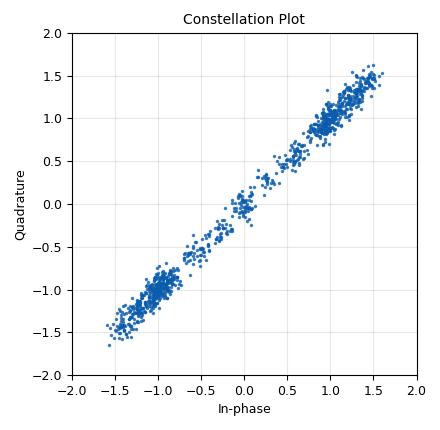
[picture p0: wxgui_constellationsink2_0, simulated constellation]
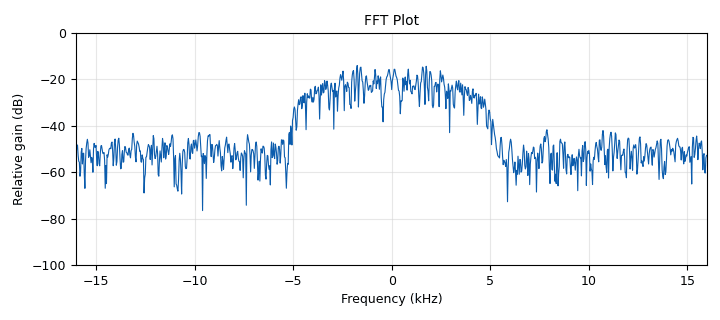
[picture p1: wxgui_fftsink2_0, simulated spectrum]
<?xml version='1.0' encoding='utf-8'?>
<?grc format='1' created='3.7.11'?>
<flow_graph>
<block>
<key>options</key>
<param><key>id</key><value>mpsk_demond</value></param>
<param><key>generate_options</key><value>wx_gui</value></param>
<param><key>title</key><value>MPSK Demod Demo</value></param>
</block>
<block>
<key>variable_slider</key>
<param><key>id</key><value>freq_on</value></param>
<param><key>converver</key><value>float_converter</value></param>
<param><key>value</key><value>0</value></param>
<param><key>label</key><value>freq_on</value></param>
<param><key>max</key><value>0.5</value></param>
<param><key>min</key><value>-0.5</value></param>
<param><key>num_steps</key><value>100</value></param>
<param><key>style</key><value>wx.SL_HORIZONTAL</value></param>
</block>
<block>
<key>variable_slider</key>
<param><key>id</key><value>noise</value></param>
<param><key>converver</key><value>float_converter</value></param>
<param><key>value</key><value>0.1</value></param>
<param><key>label</key><value>Noise</value></param>
<param><key>max</key><value>1</value></param>
<param><key>min</key><value>0</value></param>
<param><key>num_steps</key><value>100</value></param>
<param><key>style</key><value>wx.SL_HORIZONTAL</value></param>
</block>
<block>
<key>variable</key>
<param><key>id</key><value>samp_rate</value></param>
<param><key>value</key><value>32000</value></param>
</block>
<block>
<key>variable</key>
<param><key>id</key><value>samps_per_sym</value></param>
<param><key>value</key><value>4</value></param>
</block>
<block>
<key>analog_random_source_x</key>
<param><key>id</key><value>analog_random_source_x_0</value></param>
<param><key>max</key><value>2**8</value></param>
<param><key>min</key><value>0</value></param>
<param><key>num_samps</key><value>10000</value></param>
<param><key>type</key><value>byte</value></param>
<param><key>repeat</key><value>True</value></param>
</block>
<block>
<key>blocks_throttle</key>
<param><key>id</key><value>blocks_throttle_0</value></param>
<param><key>samples_per_second</key><value>samp_rate</value></param>
<param><key>type</key><value>complex</value></param>
</block>
<block>
<key>channels_channel_model</key>
<param><key>id</key><value>channels_channel_model_0</value></param>
<param><key>epsilon</key><value>1.0</value></param>
<param><key>freq_offset</key><value>freq_on</value></param>
<param><key>noise_voltage</key><value>noise</value></param>
<param><key>seed</key><value>0</value></param>
<param><key>taps</key><value>1.0 + 1.0j</value></param>
</block>
<block>
<key>digital_dxpsk_mod</key>
<param><key>id</key><value>digital_constellation_8psk_sptr</value></param>
<param><key>excess_bw</key><value>0.35</value></param>
<param><key>mod_code</key><value>"gray"</value></param>
<param><key>log</key><value>True</value></param>
<param><key>samples_per_symbol</key><value>4</value></param>
<param><key>type</key><value>dbpsk</value></param>
<param><key>verbose</key><value>False</value></param>
</block>
<block>
<key>notebook</key>
<param><key>id</key><value>nb</value></param>
<param><key>labels</key><value>['Constellation', 'FFT',]</value></param>
<param><key>style</key><value>wx.NB_TOP</value></param>
</block>
<block>
<key>wxgui_constellationsink2</key>
<param><key>id</key><value>wxgui_constellationsink2_0</value></param>
<param><key>const_size</key><value>1024</value></param>
<param><key>frame_rate</key><value>5</value></param>
<param><key>gain_mu</key><value>0.005</value></param>
<param><key>loop_bw</key><value>0.030</value></param>
<param><key>M</key><value>4</value></param>
<param><key>fmax</key><value>0.06</value></param>
<param><key>mu</key><value>0.5</value></param>
<param><key>notebook</key><value>nb, 0</value></param>
<param><key>omega_limit</key><value>0.005</value></param>
<param><key>samp_rate</key><value>samp_rate</value></param>
<param><key>symbol_rate</key><value>samp_rate/4.</value></param>
<param><key>theta</key><value>0</value></param>
<param><key>title</key><value>Constellation Plot</value></param>
</block>
<block>
<key>wxgui_fftsink2</key>
<param><key>id</key><value>wxgui_fftsink2_0</value></param>
<param><key>avg_alpha</key><value>0</value></param>
<param><key>average</key><value>False</value></param>
<param><key>baseband_freq</key><value>0</value></param>
<param><key>fft_size</key><value>1024</value></param>
<param><key>freqvar</key><value>None</value></param>
<param><key>notebook</key><value>nb, 1</value></param>
<param><key>peak_hold</key><value>False</value></param>
<param><key>ref_level</key><value>0</value></param>
<param><key>ref_scale</key><value>2.0</value></param>
<param><key>fft_rate</key><value>15</value></param>
<param><key>samp_rate</key><value>32000</value></param>
<param><key>title</key><value>FFT Plot</value></param>
<param><key>type</key><value>complex</value></param>
<param><key>win</key><value>window.blackmanharris</value></param>
<param><key>y_divs</key><value>10</value></param>
<param><key>y_per_div</key><value>10</value></param>
</block>
<connection><source_block_id>analog_random_source_x_0</source_block_id><sink_block_id>digital_constellation_8psk_sptr</sink_block_id><source_key>0</source_key><sink_key>0</sink_key></connection>
<connection><source_block_id>blocks_throttle_0</source_block_id><sink_block_id>wxgui_constellationsink2_0</sink_block_id><source_key>0</source_key><sink_key>0</sink_key></connection>
<connection><source_block_id>blocks_throttle_0</source_block_id><sink_block_id>wxgui_fftsink2_0</sink_block_id><source_key>0</source_key><sink_key>0</sink_key></connection>
<connection><source_block_id>channels_channel_model_0</source_block_id><sink_block_id>blocks_throttle_0</sink_block_id><source_key>0</source_key><sink_key>0</sink_key></connection>
<connection><source_block_id>digital_constellation_8psk_sptr</source_block_id><sink_block_id>channels_channel_model_0</sink_block_id><source_key>0</source_key><sink_key>0</sink_key></connection>
</flow_graph>
